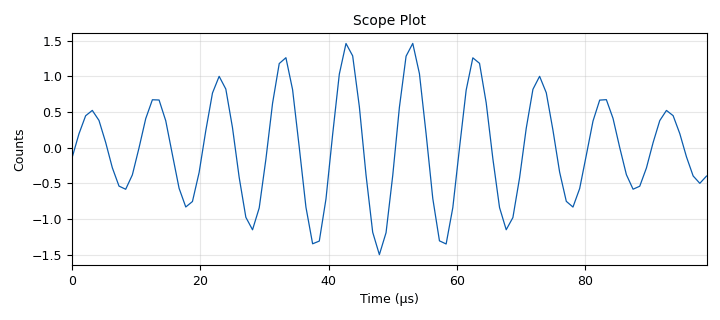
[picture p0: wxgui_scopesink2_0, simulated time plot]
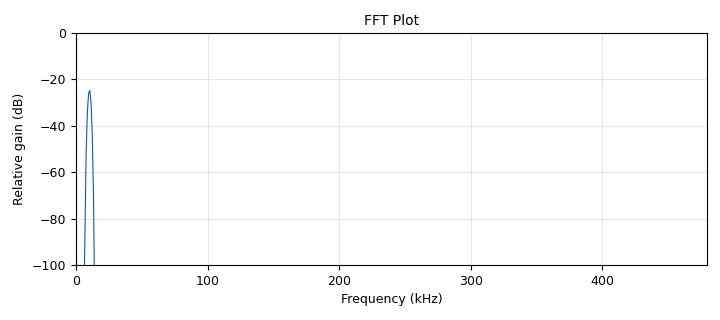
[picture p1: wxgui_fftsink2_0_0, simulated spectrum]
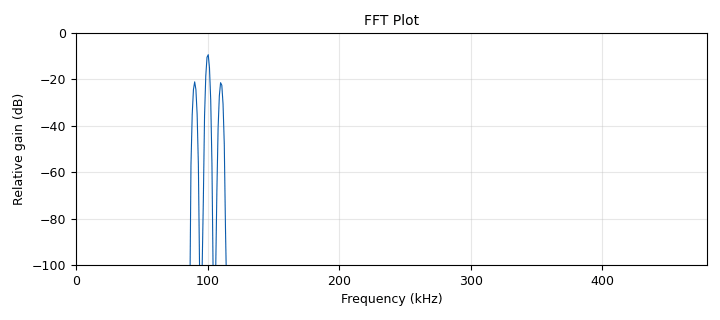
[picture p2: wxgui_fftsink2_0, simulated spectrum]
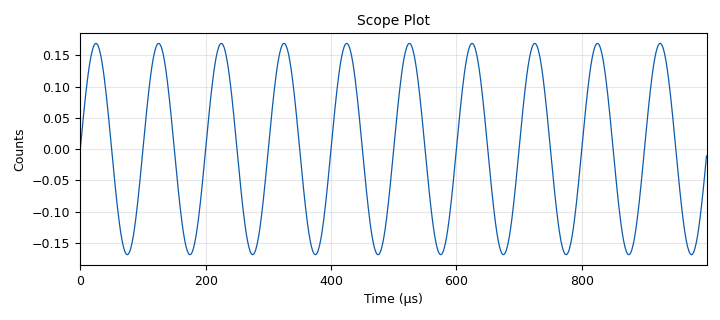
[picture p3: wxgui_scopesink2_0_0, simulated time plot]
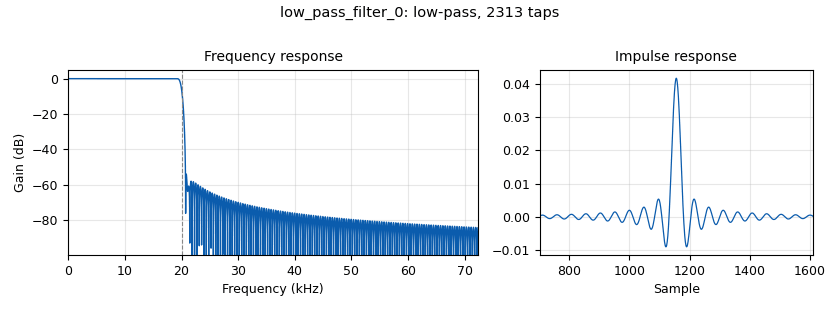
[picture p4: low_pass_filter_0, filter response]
<?xml version='1.0' encoding='utf-8'?>
<flow_graph>
<block>
<key>options</key>
<param><key>id</key><value>top_block</value></param>
<param><key>generate_options</key><value>wx_gui</value></param>
<param><key>category</key><value>Custom</value></param>
</block>
<block>
<key>variable</key>
<param><key>id</key><value>mod_rate</value></param>
<param><key>value</key><value>960000</value></param>
</block>
<block>
<key>variable</key>
<param><key>id</key><value>samp_rate</value></param>
<param><key>value</key><value>48000</value></param>
</block>
<block>
<key>analog_sig_source_x</key>
<param><key>id</key><value>analog_sig_source_x_0</value></param>
<param><key>type</key><value>float</value></param>
<param><key>samp_rate</key><value>samp_rate</value></param>
<param><key>waveform</key><value>analog.GR_COS_WAVE</value></param>
<param><key>freq</key><value>10000</value></param>
<param><key>amp</key><value>modulation_index</value></param>
<param><key>offset</key><value>0</value></param>
</block>
<block>
<key>rational_resampler_xxx</key>
<param><key>id</key><value>rational_resampler_xxx_0</value></param>
<param><key>type</key><value>fff</value></param>
<param><key>interp</key><value>20</value></param>
<param><key>decim</key><value>1</value></param>
<param><key>taps</key><value></value></param>
</block>
<block>
<key>blocks_multiply_xx</key>
<param><key>id</key><value>blocks_multiply_xx_0</value></param>
<param><key>type</key><value>float</value></param>
</block>
<block>
<key>variable_slider</key>
<param><key>id</key><value>modulation_index</value></param>
<param><key>label</key><value></value></param>
<param><key>value</key><value>0.5</value></param>
<param><key>min</key><value>0</value></param>
<param><key>max</key><value>1</value></param>
<param><key>num_steps</key><value>10</value></param>
<param><key>style</key><value>wx.SL_HORIZONTAL</value></param>
<param><key>converver</key><value>float_converter</value></param>
</block>
<block>
<key>wxgui_scopesink2</key>
<param><key>id</key><value>wxgui_scopesink2_0</value></param>
<param><key>type</key><value>float</value></param>
<param><key>title</key><value>Scope Plot</value></param>
<param><key>samp_rate</key><value>mod_rate</value></param>
<param><key>v_scale</key><value>0</value></param>
<param><key>v_offset</key><value>0</value></param>
<param><key>t_scale</key><value>0</value></param>
<param><key>ac_couple</key><value>False</value></param>
<param><key>xy_mode</key><value>False</value></param>
<param><key>num_inputs</key><value>1</value></param>
<param><key>notebook</key><value>debu_notebook,0</value></param>
<param><key>trig_mode</key><value>wxgui.TRIG_MODE_AUTO</value></param>
<param><key>y_axis_label</key><value>Counts</value></param>
</block>
<block>
<key>wxgui_fftsink2</key>
<param><key>id</key><value>wxgui_fftsink2_0_0</value></param>
<param><key>type</key><value>float</value></param>
<param><key>title</key><value>FFT Plot</value></param>
<param><key>samp_rate</key><value>mod_rate</value></param>
<param><key>baseband_freq</key><value>0</value></param>
<param><key>y_per_div</key><value>10</value></param>
<param><key>y_divs</key><value>10</value></param>
<param><key>ref_level</key><value>0</value></param>
<param><key>ref_scale</key><value>2.0</value></param>
<param><key>fft_size</key><value>1024</value></param>
<param><key>fft_rate</key><value>15</value></param>
<param><key>peak_hold</key><value>False</value></param>
<param><key>average</key><value>False</value></param>
<param><key>avg_alpha</key><value>0</value></param>
<param><key>win</key><value>None</value></param>
<param><key>notebook</key><value>debu_notebook,3</value></param>
<param><key>freqvar</key><value>None</value></param>
</block>
<block>
<key>wxgui_fftsink2</key>
<param><key>id</key><value>wxgui_fftsink2_0</value></param>
<param><key>type</key><value>float</value></param>
<param><key>title</key><value>FFT Plot</value></param>
<param><key>samp_rate</key><value>mod_rate</value></param>
<param><key>baseband_freq</key><value>0</value></param>
<param><key>y_per_div</key><value>10</value></param>
<param><key>y_divs</key><value>10</value></param>
<param><key>ref_level</key><value>0</value></param>
<param><key>ref_scale</key><value>2.0</value></param>
<param><key>fft_size</key><value>1024</value></param>
<param><key>fft_rate</key><value>15</value></param>
<param><key>peak_hold</key><value>False</value></param>
<param><key>average</key><value>False</value></param>
<param><key>avg_alpha</key><value>0</value></param>
<param><key>win</key><value>None</value></param>
<param><key>notebook</key><value>debu_notebook,1</value></param>
<param><key>freqvar</key><value>None</value></param>
</block>
<block>
<key>analog_sig_source_x</key>
<param><key>id</key><value>analog_sig_source_x_1</value></param>
<param><key>type</key><value>float</value></param>
<param><key>samp_rate</key><value>mod_rate</value></param>
<param><key>waveform</key><value>analog.GR_COS_WAVE</value></param>
<param><key>freq</key><value>100000</value></param>
<param><key>amp</key><value>1</value></param>
<param><key>offset</key><value>0</value></param>
</block>
<block>
<key>wxgui_scopesink2</key>
<param><key>id</key><value>wxgui_scopesink2_0_0</value></param>
<param><key>type</key><value>float</value></param>
<param><key>title</key><value>Scope Plot</value></param>
<param><key>samp_rate</key><value>mod_rate</value></param>
<param><key>v_scale</key><value>0</value></param>
<param><key>v_offset</key><value>0</value></param>
<param><key>t_scale</key><value>0</value></param>
<param><key>ac_couple</key><value>True</value></param>
<param><key>xy_mode</key><value>False</value></param>
<param><key>num_inputs</key><value>1</value></param>
<param><key>notebook</key><value>debu_notebook,2</value></param>
<param><key>trig_mode</key><value>wxgui.TRIG_MODE_AUTO</value></param>
<param><key>y_axis_label</key><value>Counts</value></param>
</block>
<block>
<key>blocks_add_xx</key>
<param><key>id</key><value>blocks_add_xx_0</value></param>
<param><key>type</key><value>float</value></param>
</block>
<block>
<key>blocks_throttle</key>
<param><key>id</key><value>blocks_throttle_0</value></param>
<param><key>type</key><value>float</value></param>
<param><key>samples_per_second</key><value>mod_rate</value></param>
</block>
<block>
<key>analog_const_source_x</key>
<param><key>id</key><value>analog_const_source_x_0</value></param>
<param><key>type</key><value>float</value></param>
<param><key>const</key><value>0</value></param>
</block>
<block>
<key>blocks_float_to_complex</key>
<param><key>id</key><value>blocks_float_to_complex_0</value></param>
</block>
<block>
<key>blocks_complex_to_mag</key>
<param><key>id</key><value>blocks_complex_to_mag_0</value></param>
</block>
<block>
<key>low_pass_filter</key>
<param><key>id</key><value>low_pass_filter_0</value></param>
<param><key>type</key><value>fir_filter_fff</value></param>
<param><key>decim</key><value>1</value></param>
<param><key>gain</key><value>1</value></param>
<param><key>samp_rate</key><value>mod_rate</value></param>
<param><key>cutoff_freq</key><value>20000</value></param>
<param><key>width</key><value>1000</value></param>
<param><key>win</key><value>firdes.WIN_HAMMING</value></param>
</block>
<block>
<key>dc_blocker_xx</key>
<param><key>id</key><value>dc_blocker_xx_0</value></param>
<param><key>type</key><value>ff</value></param>
<param><key>length</key><value>32</value></param>
<param><key>long_form</key><value>True</value></param>
</block>
<block>
<key>notebook</key>
<param><key>id</key><value>debu_notebook</value></param>
<param><key>style</key><value>wx.NB_TOP</value></param>
<param><key>labels</key><value>['mod_normal', 'mod_fourier','demod_normal','demod_fourier']</value></param>
</block>
<connection><source_block_id>blocks_multiply_xx_0</source_block_id><sink_block_id>blocks_add_xx_0</sink_block_id><source_key>0</source_key><sink_key>0</sink_key></connection>
<connection><source_block_id>analog_sig_source_x_1</source_block_id><sink_block_id>blocks_add_xx_0</sink_block_id><source_key>0</source_key><sink_key>1</sink_key></connection>
<connection><source_block_id>blocks_add_xx_0</source_block_id><sink_block_id>blocks_throttle_0</sink_block_id><source_key>0</source_key><sink_key>0</sink_key></connection>
<connection><source_block_id>blocks_throttle_0</source_block_id><sink_block_id>wxgui_scopesink2_0</sink_block_id><source_key>0</source_key><sink_key>0</sink_key></connection>
<connection><source_block_id>analog_sig_source_x_0</source_block_id><sink_block_id>rational_resampler_xxx_0</sink_block_id><source_key>0</source_key><sink_key>0</sink_key></connection>
<connection><source_block_id>rational_resampler_xxx_0</source_block_id><sink_block_id>blocks_multiply_xx_0</sink_block_id><source_key>0</source_key><sink_key>0</sink_key></connection>
<connection><source_block_id>analog_sig_source_x_1</source_block_id><sink_block_id>blocks_multiply_xx_0</sink_block_id><source_key>0</source_key><sink_key>1</sink_key></connection>
<connection><source_block_id>low_pass_filter_0</source_block_id><sink_block_id>wxgui_scopesink2_0_0</sink_block_id><source_key>0</source_key><sink_key>0</sink_key></connection>
<connection><source_block_id>low_pass_filter_0</source_block_id><sink_block_id>wxgui_fftsink2_0_0</sink_block_id><source_key>0</source_key><sink_key>0</sink_key></connection>
<connection><source_block_id>analog_const_source_x_0</source_block_id><sink_block_id>blocks_float_to_complex_0</sink_block_id><source_key>0</source_key><sink_key>1</sink_key></connection>
<connection><source_block_id>blocks_throttle_0</source_block_id><sink_block_id>wxgui_fftsink2_0</sink_block_id><source_key>0</source_key><sink_key>0</sink_key></connection>
<connection><source_block_id>blocks_throttle_0</source_block_id><sink_block_id>blocks_float_to_complex_0</sink_block_id><source_key>0</source_key><sink_key>0</sink_key></connection>
<connection><source_block_id>blocks_float_to_complex_0</source_block_id><sink_block_id>blocks_complex_to_mag_0</sink_block_id><source_key>0</source_key><sink_key>0</sink_key></connection>
<connection><source_block_id>blocks_complex_to_mag_0</source_block_id><sink_block_id>dc_blocker_xx_0</sink_block_id><source_key>0</source_key><sink_key>0</sink_key></connection>
<connection><source_block_id>dc_blocker_xx_0</source_block_id><sink_block_id>low_pass_filter_0</sink_block_id><source_key>0</source_key><sink_key>0</sink_key></connection>
</flow_graph>
